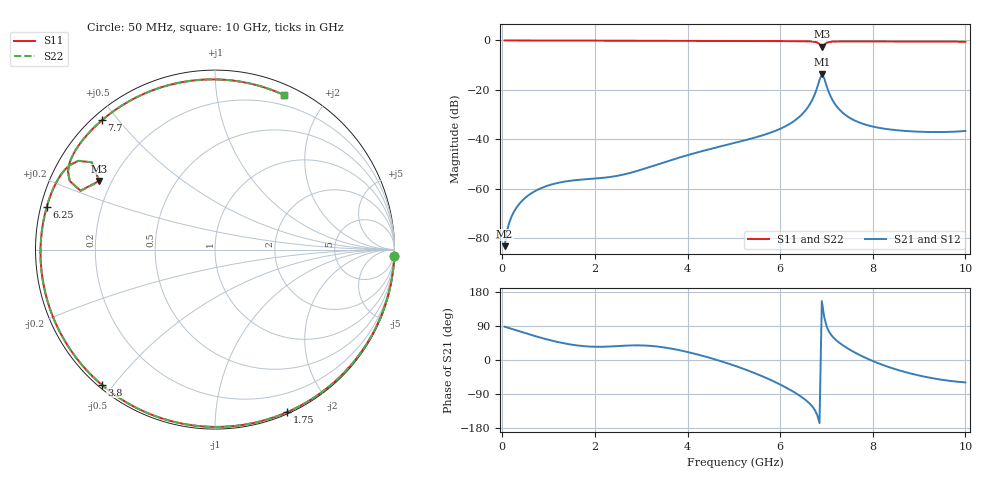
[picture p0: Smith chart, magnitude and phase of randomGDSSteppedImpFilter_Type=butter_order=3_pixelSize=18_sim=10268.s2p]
! freq	dB(S11)	phase(S11)	dB(S12)	phase(S12)
!  dB(S21)	phase(S21)	dB(S22)	phase(S22)
!S-par simulation data
#  GHz  S  DB  R 50
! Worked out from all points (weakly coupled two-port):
!   200 points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, 50 MHz to 10 GHz, reference 50 ohm
!   highest |S21| = -13.76 dB at 6.9 GHz (marker M1); lowest = -83.3 dB at 50 MHz (marker M2)
!   lowest |S11| = -2.5 dB at 6.9 GHz (marker M3), VSWR 7.00, Z = 7.67 + j13.4 ohm
!   |S11| at or under -10 dB: nowhere
!   |S22| runs from -2.5 to 0.0 dB; largest |S21 - S12| = 0
!   S11 on the Smith chart (normalised r, x): 50 MHz: 0, -57; 1.75 GHz: 0.02, -1.53; 3.8 GHz: 0.01, -0.47; 6.25 GHz: 0.02, +0.12; 7.7 GHz: 0.03, +0.45; 10 GHz: 0.10, +1.54
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0.05  -0.00 -2.0  -83.28 87.9  -83.28 87.9  -0.00 -2.0
0.25  -0.01 -9.9  -69.39 80.1  -69.39 80.1  -0.01 -9.9
0.55  -0.03 -21.6  -62.88 68.7  -62.88 68.7  -0.03 -21.6
1.05  -0.05 -40.8  -58.38 51.8  -58.38 51.8  -0.05 -40.8
1.75  -0.08 -66.2  -56.26 36.6  -56.26 36.6  -0.08 -66.2
2.55  -0.11 -92.9  -54.56 37.2  -54.56 37.2  -0.11 -92.9
3.4  -0.14 -118.7  -49.91 34.7  -49.91 34.7  -0.14 -118.7
3.8  -0.15 -130.0  -47.54 26.5  -47.54 26.5  -0.15 -130.0
5.05  -0.21 -163.2  -41.31 -16.4  -41.31 -16.4  -0.21 -163.2
6.25  -0.29 165.8  -33.26 -81.1  -33.26 -81.1  -0.29 165.8
6.5  -0.33 158.7  -29.36 -100.9  -29.36 -100.9  -0.33 158.7
6.7  -0.47 151.9  -23.82 -123.4  -23.82 -123.4  -0.47 151.8
6.85  -1.50 144.7  -15.95 -166.6  -15.95 -166.6  -1.51 144.7
6.9  -2.50 149.3  -13.76 155.4  -13.76 155.4  -2.52 149.3
6.95  -1.75 156.3  -15.23 114.3  -15.23 114.3  -1.76 156.4
7  -0.97 154.7  -18.27 89.9  -18.27 89.9  -0.97 154.8
7.2  -0.43 145.9  -26.17 53.3  -26.17 53.3  -0.43 146.0
7.4  -0.38 139.7  -30.03 35.0  -30.03 35.0  -0.38 139.7
7.7  -0.38 131.2  -33.15 14.1  -33.15 14.1  -0.38 131.2
8.35  -0.41 113.3  -35.99 -18.8  -35.99 -18.8  -0.41 113.3
9.2  -0.46 89.3  -37.05 -46.0  -37.05 -46.0  -0.46 89.3
10  -0.51 65.9  -36.65 -59.1  -36.65 -59.1  -0.51 65.9
